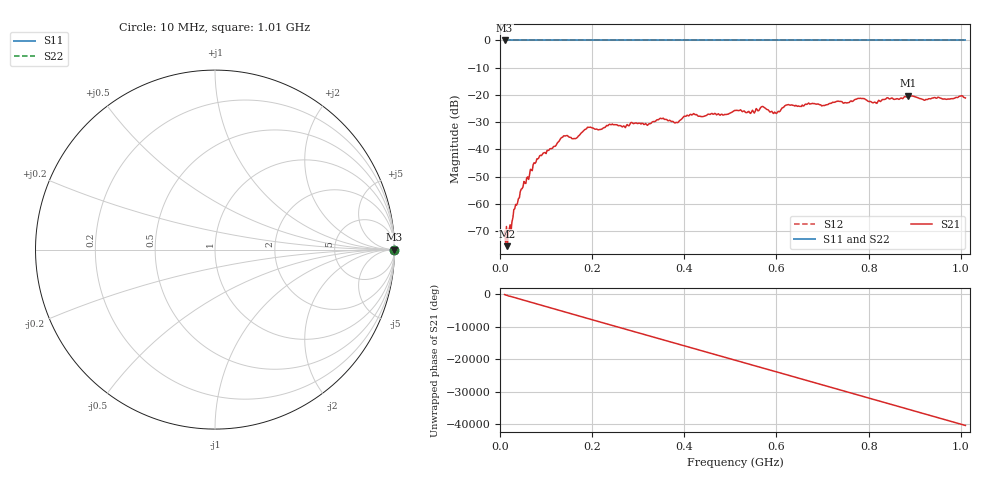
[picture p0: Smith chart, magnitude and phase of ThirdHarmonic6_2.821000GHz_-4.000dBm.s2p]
! 8/17/2025 7:27:51 AM
! C:\ANRITSUVNA\TEMP\TEMP.S2P
! CHANNEL.1
! TR.MEASUREMENT
! RAW.DATA
! RF.CORRECTION.OFF
! AVERAGING.OFF
! IF.BANDWIDTH: 5KHZ
! SWEEPTYPE:  FREQ.SWEEP(Linear)
! Reference Plane Port Info
! PORT:  PORT1  PORT2
! DISTANCE:  0  m  0  m
! TIME:  0  s  0  s
! PHASE.OFFSET:  0  deg.  0  deg.
! LOSS:  0  dB  0  dB
! REF.LOSS:  0  dB  0  dB
! REF.FREQ:  0  Hz  0  Hz
! Power Info
! POWER:  -20  dBm  -20  dBm
! EFF.POWER:  -20  dBm  -20  dBm
! SOURCE.ATTEN:  0  dB  0  dB
! TEST.ATTEN:  0  dB  0  dB
# GHZ S RI R 50.0
! FREQ.GHZ  S11RE  S11IM  S21RE  S21IM  S12RE  S12IM  S22RE  S22IM
!; PortSelection: Port_12
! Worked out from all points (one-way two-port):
!   501 points, 10 MHz to 1.01 GHz, reference 50 ohm
!   highest |S21| = -20.25 dB at 886 MHz (marker M1); lowest = -75.6 dB at 16 MHz (marker M2)
!   lowest |S11| = 0.0 dB at 10 MHz (marker M3)
!   |S11| at or under -10 dB: nowhere
!   |S22| runs from 0.0 to 0.0 dB; largest |S21 - S12| = 1.1
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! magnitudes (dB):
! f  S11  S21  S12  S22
! 10 MHz  0.0  -70.1  0.0  0.0
! 16 MHz  0.0  -75.6  0.0  0.0
! 20 MHz  0.0  -69.4  0.0  0.0
! 48 MHz  0.0  -54.4  0.0  0.0
! 76 MHz  0.0  -45.2  0.0  0.0
! 136 MHz  0.0  -35.5  0.0  0.0
! 162 MHz  0.0  -36.1  0.0  0.0
! 178 MHz  0.0  -33.7  0.0  0.0
! 194 MHz  0.0  -31.9  0.0  0.0
! 322 MHz  0.0  -30.8  0.0  0.0
! 344 MHz  0.0  -29.1  0.0  0.0
! 382 MHz  0.0  -30.1  0.0  0.0
! 416 MHz  0.0  -27.4  0.0  0.0
! 510 MHz  0.0  -25.7  0.0  0.0
! 548 MHz  0.0  -25.6  0.0  0.0
! 570 MHz  0.0  -24.2  0.0  0.0
! 596 MHz  0.0  -26.3  0.0  0.0
! 622 MHz  0.0  -23.7  0.0  0.0
! 678 MHz  0.0  -23.1  0.0  0.0
! 844 MHz  0.0  -21.4  0.0  0.0
! 886 MHz  0.0  -20.2  0.0  0.0
! 1.01 GHz  0.0  -21.1  0.0  0.0
